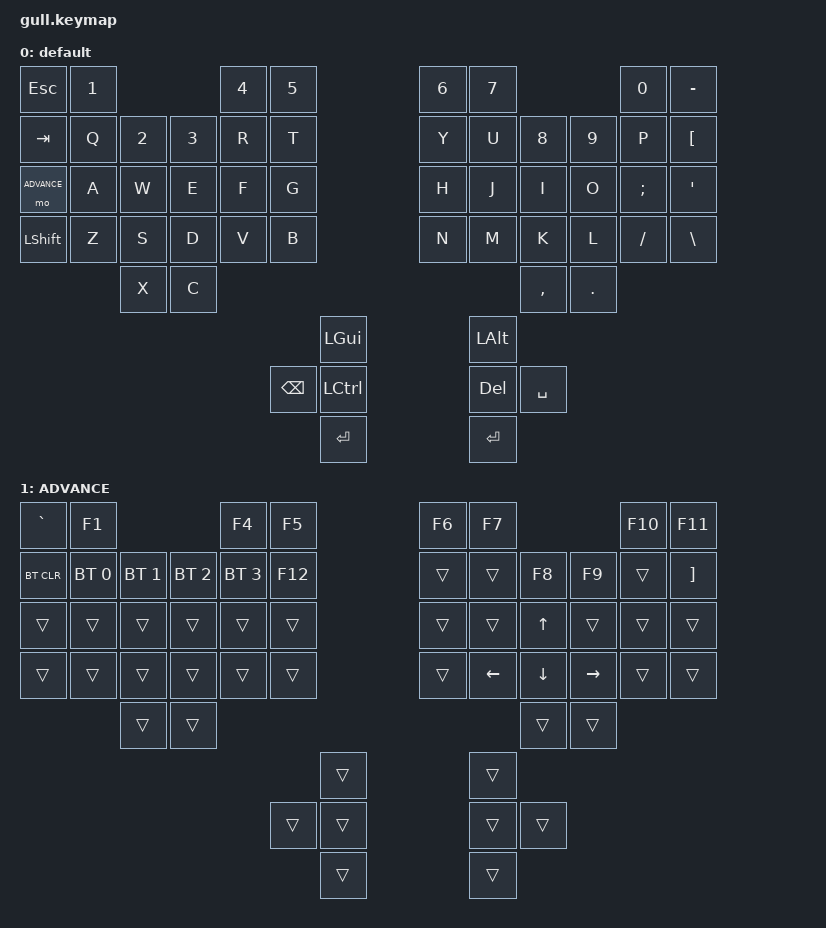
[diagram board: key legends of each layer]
#include <behaviors.dtsi>
#include <dt-bindings/zmk/keys.h>
#include <dt-bindings/zmk/bt.h>
#include <dt-bindings/zmk/ext_power.h>


#define BASE 0
#define ADVANCE 1

/ {
    keymap {
        compatible = "zmk,keymap";

        default_layer {
            display-name = "default";
            bindings = <
    &kp ESC      &kp N1                     &kp N4   &kp N5                 &kp N6   &kp N7                     &kp N0   &kp MINUS
    &kp TAB      &kp Q    &kp N2   &kp N3   &kp R    &kp T                  &kp Y    &kp U    &kp N8   &kp N9   &kp P    &kp LBKT
    &mo ADVANCE  &kp A    &kp W    &kp E    &kp F    &kp G                  &kp H    &kp J    &kp I    &kp O    &kp SEMI  &kp SQT
    &kp LSHFT    &kp Z    &kp S    &kp D    &kp V    &kp B                  &kp N    &kp M    &kp K    &kp L    &kp FSLH  &kp BSLH
                          &kp X    &kp C                                                      &kp COMMA  &kp DOT
                                                              &kp LGUI               &kp LALT
                                                     &kp BSPC &kp LCTRL              &kp DEL &kp SPACE
                                                              &kp RET                &kp RET
            >;
        };

        advance_layer {
            display-name = "ADVANCE";
            bindings = <
    &kp GRAVE  &kp F1                                 &kp F4          &kp F5                 &kp F6   &kp F7                     &kp F10   &kp F11
    &bt BT_CLR  &bt BT_SEL 0  &bt BT_SEL 1  &bt BT_SEL 2  &bt BT_SEL 3    &kp F12                &trans    &trans    &kp F8   &kp F9   &trans     &kp RBKT
    &trans     &trans       &trans       &trans       &trans          &trans                 &trans    &trans    &kp UP    &trans    &trans  &trans
    &trans     &trans       &trans       &trans       &trans          &trans                 &trans    &kp LEFT    &kp DOWN    &kp RIGHT    &trans &trans
                            &trans       &trans                                                                       &trans  &trans
                                                              &trans                                &trans
                                                     &trans &trans                               &trans &trans
                                                              &trans                                 &trans
            >;
        };
    };
};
